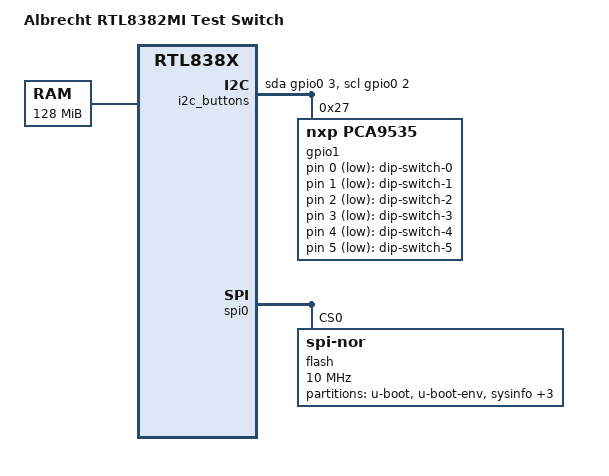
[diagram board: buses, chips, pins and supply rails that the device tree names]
// SPDX-License-Identifier: GPL-2.0-or-later OR MIT

#include "rtl838x.dtsi"
#include <dt-bindings/input/input.h>
#include <dt-bindings/leds/common.h>
#include <dt-bindings/gpio/gpio.h>

/ {
	compatible = "albrecht,rtl8382mi-test", "realtek,rtl838x-soc";
	model = "Albrecht RTL8382MI Test Switch";

	memory@0 {
		device_type = "memory";
		reg = <0x0 0x8000000>;
	};

	leds: leds {
		pinctrl-names = "default";
		pinctrl-0 = <&pinmux_disable_sys_led>;
		compatible = "gpio-leds";
	};

	i2c_buttons: i2c-gpio-0 {
		compatible = "i2c-gpio";
		sda-gpios = <&gpio0 3 (GPIO_ACTIVE_HIGH | GPIO_OPEN_DRAIN)>;
		scl-gpios = <&gpio0 2 GPIO_ACTIVE_HIGH>;
		i2c-gpio,delay-us = <2>;
		i2c-gpio,scl-open-drain;
		#address-cells = <1>;
		#size-cells = <0>;

		gpio1: gpio-expander@27 {
			compatible = "nxp,pca9535";
			reg = <0x27>;
			gpio-controller;
			#gpio-cells = <2>;
		};
	};

	keys {
		compatible = "gpio-keys-polled";
		poll-interval = <20>;

		dip-switch-0 {
			label = "dip-switch-0";
			gpios = <&gpio1 0 GPIO_ACTIVE_LOW>;
			linux,code = <BTN_0>;
			debounce-interval = <100>;
		};

		dip-switch-1 {
			label = "dip-switch-1";
			gpios = <&gpio1 1 GPIO_ACTIVE_LOW>;
			linux,code = <BTN_1>;
			debounce-interval = <100>;
		};

		dip-switch-2 {
			label = "dip-switch-2";
			gpios = <&gpio1 2 GPIO_ACTIVE_LOW>;
			linux,code = <BTN_2>;
			debounce-interval = <100>;
		};

		dip-switch-3 {
			label = "dip-switch-3";
			gpios = <&gpio1 3 GPIO_ACTIVE_LOW>;
			linux,code = <BTN_3>;
			debounce-interval = <100>;
		};

		dip-switch-4 {
			label = "dip-switch-4";
			gpios = <&gpio1 4 GPIO_ACTIVE_LOW>;
			linux,code = <BTN_4>;
			debounce-interval = <100>;
		};

		dip-switch-5 {
			label = "dip-switch-5";
			gpios = <&gpio1 5 GPIO_ACTIVE_LOW>;
			linux,code = <KEY_RESTART>;
			debounce-interval = <100>;
		};
	};
};

&spi0 {
	status = "okay";
	flash@0 {
		compatible = "jedec,spi-nor";
		reg = <0>;
		spi-max-frequency = <10000000>;

		partitions {
			compatible = "fixed-partitions";
			#address-cells = <1>;
			#size-cells = <1>;

			partition@0 {
				label = "u-boot";
				reg = <0x00000000 0x0e0000>;
				read-only;
			};
			partition@e0000 {
				label = "u-boot-env";
				reg = <0x000e0000 0x010000>;
			};
			partition@f0000 {
				label = "sysinfo";
				reg = <0x000f0000 0x010000>;
				read-only;
			};
			partition@100000 {
				label = "jffs2_cfg";
				reg = <0x00100000 0x100000>;
			};
			partition@200000 {
				label = "jffs2_log";
				reg = <0x00200000 0x100000>;
			};
			partition@300000 {
				label = "firmware";
				compatible = "openwrt,uimage", "denx,uimage";
				openwrt,ih-magic = <0x83800000>;
				reg = <0x00300000 0x0d00000>;
			};
		};
	};
};

&mdio_bus0 {
	PHY_C22(0, 0)
	PHY_C22(1, 1)
	PHY_C22(2, 2)
	PHY_C22(3, 3)
	PHY_C22(4, 4)
	PHY_C22(5, 5)
	PHY_C22(6, 6)
	PHY_C22(7, 7)

	PHY_C22(8, 8)
	PHY_C22(9, 9)
	PHY_C22(10, 10)
	PHY_C22(11, 11)
	PHY_C22(12, 12)
	PHY_C22(13, 13)
	PHY_C22(14, 14)
	PHY_C22(15, 15)

	/* TODO: This is a RTL8214FC and should be PHY_C22_SFP() */
	PHY_C22(24, 24)
	PHY_C22(25, 25)
	PHY_C22(26, 26)
	PHY_C22(27, 27)
};

&switch0 {
	ethernet-ports {
		#address-cells = <1>;
		#size-cells = <0>;

		SWITCH_PORT_SDS(0, 1, 0, 0, qsgmii)
		SWITCH_PORT_SDS(1, 2, 0, 1, qsgmii)
		SWITCH_PORT_SDS(2, 3, 0, 2, qsgmii)
		SWITCH_PORT_SDS(3, 4, 0, 3, qsgmii)
		SWITCH_PORT_SDS(4, 5, 1, 0, qsgmii)
		SWITCH_PORT_SDS(5, 6, 1, 1, qsgmii)
		SWITCH_PORT_SDS(6, 7, 1, 2, qsgmii)
		SWITCH_PORT_SDS(7, 8, 1, 3, qsgmii)

		SWITCH_PORT(8, 9, internal)
		SWITCH_PORT(9, 10, internal)
		SWITCH_PORT(10, 11, internal)
		SWITCH_PORT(11, 12, internal)
		SWITCH_PORT(12, 13, internal)
		SWITCH_PORT(13, 14, internal)
		SWITCH_PORT(14, 15, internal)
		SWITCH_PORT(15, 16, internal)

		SWITCH_PORT_SDS(24, 17, 4, 0, qsgmii)
		SWITCH_PORT_SDS(25, 18, 4, 1, qsgmii)
		SWITCH_PORT_SDS(26, 19, 4, 2, qsgmii)
		SWITCH_PORT_SDS(27, 20, 4, 3, qsgmii)

		port@28 {
			ethernet = <&ethernet0>;
			reg = <28>;
			phy-mode = "internal";
			fixed-link {
				speed = <1000>;
				full-duplex;
			};
		};
	};
};
